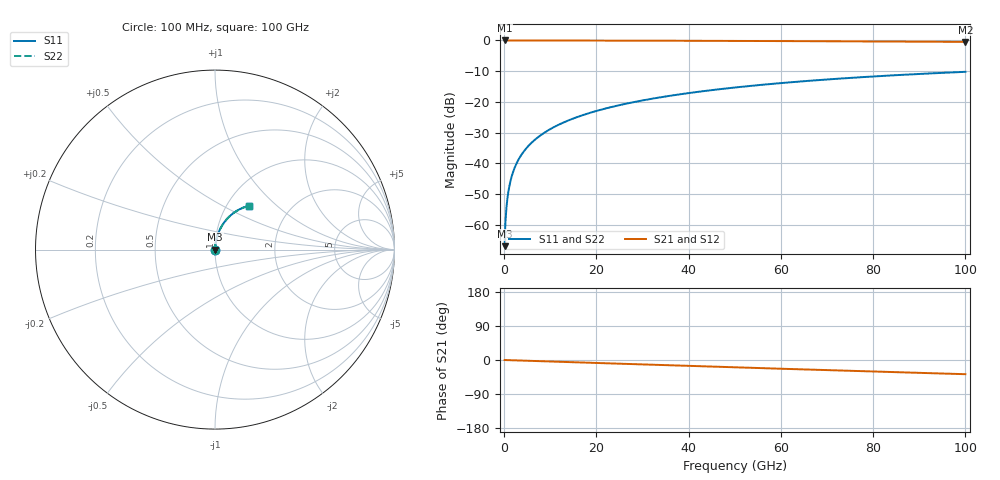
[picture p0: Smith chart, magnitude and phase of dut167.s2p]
! Touchstone file exported from HFSS 2026.1.0
!  File:  C:/ffzhzh/LocalFiles/Ansys_Project_Files/temp_train_TSV_167_1783506893_55944.aedt
!  Generated:  06:36:09 PM Jul  8, 2026
!  Design:  TSV
!  Project:  temp_train_TSV_167_1783506893_55944
! Variables:
!  h_bsmrdl = 2um
!  h_ox = 20um
!  h_rdl = 5um
!  h_sub = 58.93um
!  h_tmrdl = 5um
!  h_tsv = 58.93um
!  h_via = 3um
!  l_bsmrdl = 300um
!  l_sub = 411.94um
!  l_tmrdl = 200um
!  m_sub = 200um
!  pitch = 54.56um
!  r_tsv = 5.97um
!  s_tmrdl = 10um
!  w_bsmrdl = 18um
!  w_sub = 500um
!  w_tmrdl = 12um
!  x_tsv_center1 = 206um
!  x_tsv_center2 = 524um
!  x_tsv_center3 = 736um
!  x_tsv_center4 = 1054um
!  x_tsv_center5 = 1266um
!  x_tsv_center6 = 1584um
# GHz S MA R 50.000000
! Terminal data exported
! Port[1] = TSV1_1_T1
! Port[2] = TSV1_1_T2
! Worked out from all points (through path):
!   1000 points, 100 MHz to 100 GHz, reference 50 ohm
!   highest |S21| = 0.00 dB at 100 MHz (marker M1); lowest = -0.5 dB at 100 GHz (marker M2)
!   group delay of S21, straight-line fit = 1.04 ps
!   lowest |S11| = -66.9 dB at 100 MHz (marker M3), VSWR 1.00, Z = 50 + j0.0393 ohm
!   |S11| at or under -10 dB: start of sweep to end of sweep
!   |S22| runs from -66.9 to -10.2 dB; largest |S21 - S12| = 4.2e-15
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0.1  0.0004517 60.3  0.9998 -0.0  0.9998 -0.0  0.0004517 60.3
! Gamma 0 0 0 0
! Port Impedance 50 0 50 0
0.3  0.001178 77.9  0.9998 -0.1  0.9998 -0.1  0.001178 77.9
0.7  0.002669 83.8  0.9997 -0.3  0.9997 -0.3  0.002669 83.8
0.8  0.003043 84.4  0.9997 -0.3  0.9997 -0.3  0.003043 84.4
1  0.00379 85.1  0.9997 -0.4  0.9997 -0.4  0.00379 85.1
1.3  0.004908 85.6  0.9997 -0.5  0.9997 -0.5  0.004908 85.6
1.7  0.00639 86.0  0.9996 -0.7  0.9996 -0.7  0.00639 86.0
2.3  0.008593 86.1  0.9995 -0.9  0.9995 -0.9  0.008593 86.1
3  0.01114 86.1  0.9994 -1.2  0.9994 -1.2  0.01114 86.1
3.8  0.01402 86.0  0.9993 -1.5  0.9993 -1.5  0.01402 86.0
4.8  0.01761 85.9  0.9992 -1.9  0.9992 -1.9  0.01761 85.9
6  0.02191 85.6  0.999 -2.4  0.999 -2.4  0.02191 85.6
8.8  0.0319 84.9  0.9986 -3.5  0.9986 -3.5  0.0319 84.9
12.4  0.04467 83.7  0.9979 -4.9  0.9979 -4.9  0.04467 83.7
16.8  0.06017 82.2  0.9969 -6.6  0.9969 -6.6  0.06017 82.2
24.2  0.08596 79.5  0.9947 -9.4  0.9947 -9.4  0.08596 79.5
33.4  0.1174 76.1  0.9913 -13.0  0.9913 -13.0  0.1174 76.1
41.2  0.1433 73.2  0.9877 -16.0  0.9877 -16.0  0.1433 73.2
50.1  0.172 70.0  0.9829 -19.3  0.9829 -19.3  0.172 70.0
66.7  0.2225 63.9  0.9725 -25.5  0.9725 -25.5  0.2225 63.9
83.4  0.2685 57.9  0.9606 -31.6  0.9606 -31.6  0.2685 57.9
100  0.309 52.1  0.9481 -37.4  0.9481 -37.4  0.309 52.1
